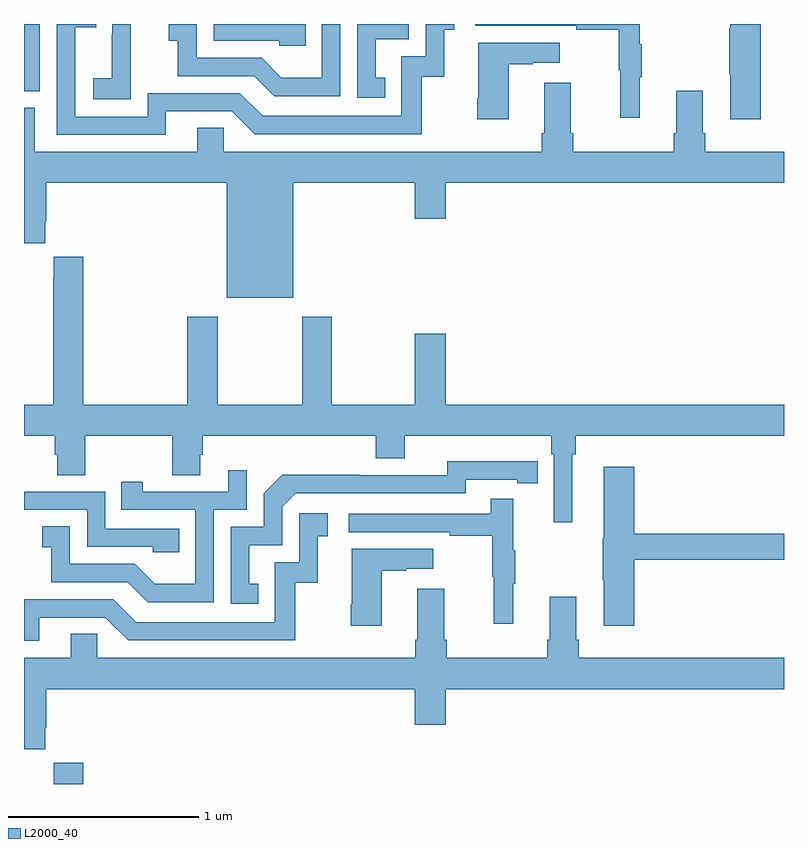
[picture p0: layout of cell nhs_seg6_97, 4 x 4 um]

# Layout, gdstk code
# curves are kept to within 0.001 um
import gdstk
lib = gdstk.Library(unit=1e-6, precision=1e-09)
def R(c, l, rs):  # rectangles x0, y0, x1, y1
    for r in rs: c.add(gdstk.rectangle(r[:2], r[2:], *l))
def P(c, l, *ps):  # polygons
    for p in ps: c.add(gdstk.Polygon(p, *l))
L2000_40 = (2000, 40)

nhs_seg6_97 = lib.new_cell('nhs_seg6_97')
R(nhs_seg6_97, L2000_40, [(115.157,949.5,115.313,949.612), (115,953.145,115.083,953.5)])
P(nhs_seg6_97, L2000_40, [(118.241,953.219),(118.252,953.219),(118.252,953.393),(118.241,953.393),(118.241,953.5),(117.375,953.5),(117.375,953.49),(117.907,953.49),(117.907,953.47),(118.131,953.47),(118.131,953.256),(118.138,953.256),(118.138,953.007),(118.241,953.007)],
  [(116.9,953.217),(116.851,953.217),(116.851,953.421),(117.024,953.421),(117.024,953.5),(116.754,953.5),(116.754,953.112),(116.9,953.112)],
  [(115.747,953.04),(116.094,953.04),(116.214,952.92),(117.094,952.92),(117.094,953.223),(117.212,953.223),(117.212,953.469),(117.265,953.469),(117.265,953.5),(117.114,953.5),(117.114,953.331),(116.985,953.331),(116.985,953.016),(116.256,953.016),(116.136,953.136),(115.65,953.136),(115.65,953.013),(115.269,953.013),(115.269,953.482),(115.379,953.482),(115.379,953.5),(115.173,953.5),(115.173,952.917),(115.747,952.917)],
  [(118.877,953.5),(118.718,953.5),(118.718,953.477),(118.711,953.477),(118.711,953.236),(118.718,953.236),(118.718,952.998),(118.877,952.998)],
  [(116.483,953.5),(115.998,953.5),(115.998,953.412),(116.343,953.412),(116.343,953.385),(116.483,953.385)],
  [(115.563,953.311),(115.562,953.311),(115.562,953.5),(115.464,953.5),(115.464,953.444),(115.463,953.444),(115.463,953.215),(115.365,953.215),(115.365,953.105),(115.563,953.105)],
  [(116.664,953.5),(116.568,953.5),(116.568,953.218),(116.354,953.218),(116.25,953.322),(115.908,953.322),(115.908,953.5),(115.761,953.5),(115.761,953.411),(115.81,953.411),(115.81,953.226),(116.213,953.226),(116.318,953.121),(116.664,953.121)],
  [(117.55,953.287),(117.677,953.287),(117.677,953.297),(117.82,953.297),(117.82,953.401),(117.392,953.401),(117.392,953.11),(117.385,953.11),(117.385,952.998),(117.55,952.998)],
  [(116.416,952.664),(117.056,952.664),(117.056,952.476),(117.22,952.476),(117.22,952.664),(119,952.664),(119,952.828),(118.586,952.828),(118.586,952.924),(118.573,952.924),(118.573,953.149),(118.433,953.149),(118.433,952.924),(118.421,952.924),(118.421,952.828),(117.89,952.828),(117.89,952.924),(117.877,952.924),(117.877,953.191),(117.737,953.191),(117.737,952.924),(117.725,952.924),(117.725,952.828),(116.052,952.828),(116.052,952.955),(115.913,952.955),(115.913,952.828),(115.057,952.828),(115.057,953.06),(115,953.06),(115,952.347),(115.111,952.347),(115.111,952.459),(115.118,952.459),(115.118,952.664),(116.066,952.664),(116.066,952.058),(116.416,952.058)],
  [(117.886,951.236),(117.905,951.236),(117.905,951.332),(119,951.332),(119,951.496),(117.22,951.496),(117.22,951.871),(117.056,951.871),(117.056,951.496),(116.619,951.496),(116.619,951.958),(116.464,951.958),(116.464,951.496),(116.019,951.496),(116.019,951.958),(115.859,951.958),(115.859,951.496),(115.313,951.496),(115.313,952.276),(115.157,952.276),(115.157,952.163),(115.153,952.163),(115.153,951.496),(115,951.496),(115,951.332),(115.163,951.332),(115.163,951.234),(115.175,951.234),(115.175,951.124),(115.323,951.124),(115.323,951.332),(115.78,951.332),(115.78,951.124),(115.927,951.124),(115.927,951.234),(115.94,951.234),(115.94,951.332),(116.852,951.332),(116.852,951.215),(117.004,951.215),(117.004,951.332),(117.776,951.332),(117.776,951.236),(117.789,951.236),(117.789,950.877),(117.886,950.877)],
  [(116.234,950.553),(116.185,950.553),(116.185,950.757),(116.358,950.757),(116.358,950.958),(116.43,951.03),(117.324,951.03),(117.324,951.102),(117.596,951.102),(117.596,951.082),(117.704,951.082),(117.704,951.198),(117.228,951.199),(117.228,951.126),(116.768,951.126),(116.768,951.128),(116.36,951.128),(116.262,951.03),(116.262,950.853),(116.088,950.853),(116.088,950.448),(116.234,950.448)],
  [(118.211,950.68),(119,950.68),(119,950.816),(118.211,950.816),(118.211,951.169),(118.052,951.169),(118.052,950.793),(118.045,950.793),(118.045,950.572),(118.052,950.572),(118.052,950.334),(118.211,950.334)],
  [(115.998,950.943),(116.172,950.943),(116.172,951.151),(116.075,951.151),(116.075,951.039),(115.624,951.039),(115.624,951.091),(115.513,951.091),(115.513,950.943),(115.902,950.943),(115.902,950.554),(115.688,950.554),(115.584,950.658),(115.242,950.658),(115.242,950.857),(115.095,950.857),(115.095,950.747),(115.144,950.747),(115.144,950.562),(115.547,950.562),(115.652,950.457),(115.998,950.457)],
  [(115.817,950.844),(115.428,950.844),(115.428,951.039),(115,951.039),(115,950.943),(115.332,950.943),(115.332,950.748),(115.677,950.748),(115.677,950.721),(115.817,950.721)],
  [(117.575,950.555),(117.586,950.555),(117.586,950.729),(117.575,950.729),(117.575,951.001),(117.457,951.001),(117.457,950.922),(116.709,950.922),(116.709,950.826),(117.241,950.826),(117.241,950.806),(117.465,950.806),(117.465,950.592),(117.472,950.592),(117.472,950.343),(117.575,950.343)],
  [(115.081,950.376),(115.428,950.376),(115.548,950.256),(116.428,950.256),(116.428,950.559),(116.546,950.559),(116.546,950.805),(116.599,950.805),(116.599,950.926),(116.448,950.926),(116.448,950.667),(116.319,950.667),(116.319,950.352),(115.59,950.352),(115.47,950.472),(115,950.472),(115,950.253),(115.081,950.253)],
  [(116.884,950.623),(117.011,950.623),(117.011,950.633),(117.154,950.633),(117.154,950.737),(116.726,950.737),(116.726,950.446),(116.719,950.446),(116.719,950.334),(116.884,950.334)],
  [(115.111,949.795),(115.118,949.795),(115.118,950),(117.056,950),(117.056,949.812),(117.22,949.812),(117.22,950),(119,950),(119,950.164),(117.92,950.164),(117.92,950.26),(117.907,950.26),(117.907,950.485),(117.767,950.485),(117.767,950.26),(117.755,950.26),(117.755,950.164),(117.224,950.164),(117.224,950.26),(117.211,950.26),(117.211,950.527),(117.071,950.527),(117.071,950.26),(117.059,950.26),(117.059,950.164),(115.386,950.164),(115.386,950.291),(115.247,950.291),(115.247,950.164),(115,950.164),(115,949.683),(115.111,949.683)])

lib.write_gds('nhs_seg6_97.gds')
